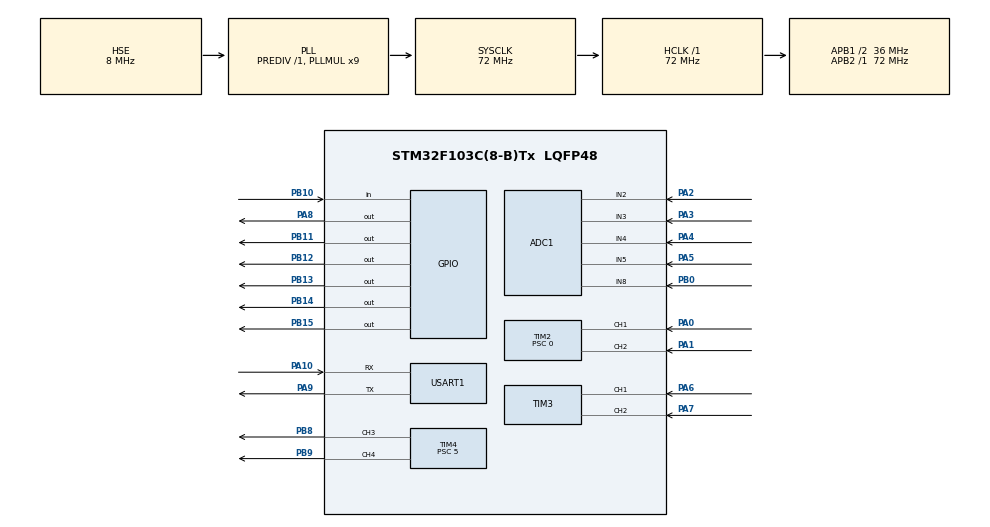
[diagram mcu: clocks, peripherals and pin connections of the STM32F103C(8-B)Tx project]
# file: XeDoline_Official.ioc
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ADC1.Channel-0\#ChannelRegularConversion=ADC_CHANNEL_2
ADC1.Channel-1\#ChannelRegularConversion=ADC_CHANNEL_3
ADC1.Channel-2\#ChannelRegularConversion=ADC_CHANNEL_4
ADC1.Channel-3\#ChannelRegularConversion=ADC_CHANNEL_5
ADC1.Channel-4\#ChannelRegularConversion=ADC_CHANNEL_8
ADC1.ContinuousConvMode=ENABLE
ADC1.NbrOfConversion=5
ADC1.NbrOfConversionFlag=1
ADC1.Rank-0\#ChannelRegularConversion=1
ADC1.Rank-1\#ChannelRegularConversion=2
ADC1.Rank-2\#ChannelRegularConversion=3
ADC1.Rank-3\#ChannelRegularConversion=4
ADC1.Rank-4\#ChannelRegularConversion=5
ADC1.SamplingTime-0\#ChannelRegularConversion=ADC_SAMPLETIME_239CYCLES_5
ADC1.SamplingTime-1\#ChannelRegularConversion=ADC_SAMPLETIME_239CYCLES_5
ADC1.SamplingTime-2\#ChannelRegularConversion=ADC_SAMPLETIME_239CYCLES_5
ADC1.SamplingTime-3\#ChannelRegularConversion=ADC_SAMPLETIME_239CYCLES_5
ADC1.SamplingTime-4\#ChannelRegularConversion=ADC_SAMPLETIME_239CYCLES_5
ADC1.master=1
Dma.ADC1.0.Direction=DMA_PERIPH_TO_MEMORY
Dma.ADC1.0.Instance=DMA1_Channel1
Dma.ADC1.0.MemDataAlignment=DMA_MDATAALIGN_HALFWORD
Dma.ADC1.0.MemInc=DMA_MINC_ENABLE
Dma.ADC1.0.Mode=DMA_CIRCULAR
Dma.ADC1.0.PeriphDataAlignment=DMA_PDATAALIGN_HALFWORD
Dma.ADC1.0.PeriphInc=DMA_PINC_DISABLE
Dma.ADC1.0.Priority=DMA_PRIORITY_LOW
Dma.Request0=ADC1
Mcu.Family=STM32F1
Mcu.Name=STM32F103C(8-B)Tx
Mcu.Package=LQFP48
NVIC.DMA1_Channel1_IRQn=true\:0\:0\:false\:false\:true\:false\:true\:true
NVIC.PriorityGroup=NVIC_PRIORITYGROUP_4
NVIC.TIM1_UP_IRQn=true\:0\:0\:false\:false\:true\:true\:true\:true
PA0-WKUP.Signal=S_TIM2_CH1_ETR
PA1.Signal=S_TIM2_CH2
PA10.Mode=Asynchronous
PA10.Signal=USART1_RX
PA13.Mode=Serial_Wire
PA13.Signal=SYS_JTMS-SWDIO
PA14.Mode=Serial_Wire
PA14.Signal=SYS_JTCK-SWCLK
PA2.Signal=ADCx_IN2
PA3.Signal=ADCx_IN3
PA4.Signal=ADCx_IN4
PA5.Signal=ADCx_IN5
PA6.Signal=S_TIM3_CH1
PA7.Signal=S_TIM3_CH2
PA8.Signal=GPIO_Output
PA9.Mode=Asynchronous
PA9.Signal=USART1_TX
PB0.Signal=ADCx_IN8
PB10.Signal=GPIO_Input
PB11.Signal=GPIO_Output
PB12.Signal=GPIO_Output
PB13.Signal=GPIO_Output
PB14.Signal=GPIO_Output
PB15.Signal=GPIO_Output
PB8.Signal=S_TIM4_CH3
PB9.Signal=S_TIM4_CH4
PD0-OSC_IN.Mode=HSE-External-Oscillator
PD0-OSC_IN.Signal=RCC_OSC_IN
PD1-OSC_OUT.Mode=HSE-External-Oscillator
PD1-OSC_OUT.Signal=RCC_OSC_OUT
ProjectManager.HeapSize=0x200
ProjectManager.StackSize=0x400
ProjectManager.TargetToolchain=MDK-ARM V5.32
RCC.ADCPresc=RCC_ADCPCLK2_DIV6
RCC.AHBFreq_Value=72000000
RCC.APB1CLKDivider=RCC_HCLK_DIV2
RCC.APB1Freq_Value=36000000
RCC.APB1TimFreq_Value=72000000
RCC.APB2Freq_Value=72000000
RCC.APB2TimFreq_Value=72000000
RCC.HCLKFreq_Value=72000000
RCC.PLLMUL=RCC_PLL_MUL9
RCC.PLLSourceVirtual=RCC_PLLSOURCE_HSE
RCC.SYSCLKFreq_VALUE=72000000
RCC.SYSCLKSource=RCC_SYSCLKSOURCE_PLLCLK
RCC.USBFreq_Value=72000000
SH.ADCx_IN2.0=ADC1_IN2,IN2
SH.ADCx_IN3.0=ADC1_IN3,IN3
SH.ADCx_IN4.0=ADC1_IN4,IN4
SH.ADCx_IN5.0=ADC1_IN5,IN5
SH.ADCx_IN8.0=ADC1_IN8,IN8
SH.S_TIM2_CH1_ETR.0=TIM2_CH1,Encoder_Interface
SH.S_TIM2_CH2.0=TIM2_CH2,Encoder_Interface
SH.S_TIM3_CH1.0=TIM3_CH1,Encoder_Interface
SH.S_TIM3_CH2.0=TIM3_CH2,Encoder_Interface
SH.S_TIM4_CH3.0=TIM4_CH3,PWM Generation3 CH3
SH.S_TIM4_CH4.0=TIM4_CH4,PWM Generation4 CH4
TIM1.Period=1999
TIM1.Prescaler=71
TIM2.EncoderMode=TIM_ENCODERMODE_TI12
TIM2.IC1Filter=8
TIM2.IC2Filter=8
TIM2.Period=65535
TIM2.Prescaler=0
TIM3.EncoderMode=TIM_ENCODERMODE_TI12
TIM3.IC1Filter=8
TIM4.Channel-PWM\ Generation3\ CH3=TIM_CHANNEL_3
TIM4.Channel-PWM\ Generation4\ CH4=TIM_CHANNEL_4
TIM4.Period=799
TIM4.Prescaler=5
USART1.VirtualMode=VM_ASYNC
VP_TIM1_VS_ClockSourceINT.Mode=Internal
VP_TIM4_VS_ClockSourceINT.Mode=Internal
board=custom

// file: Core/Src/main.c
/* USER CODE BEGIN Header */
	/**
		******************************************************************************
		* @file           : main.c
		* @brief          : Giam sat dong bo: 5 LED ADC, Sai so Error, RPM 2 banh xe
		******************************************************************************
		* @attention
		*
		* Copyright (c) 2026 STMicroelectronics.
		* All rights reserved.
		*
		******************************************************************************
		*/
/* USER CODE END Header */
#include "main.h"

/* USER CODE BEGIN Includes */
	#include <stdio.h>
	#include <string.h>
	#include "motor.h"
	#include "rpr220.h"
	#include "hx711.h"
	#include "edge_follow.h"
/* USER CODE END Includes */

ADC_HandleTypeDef hadc1;
DMA_HandleTypeDef hdma_adc1;

TIM_HandleTypeDef htim1;
TIM_HandleTypeDef htim2;
TIM_HandleTypeDef htim3;
TIM_HandleTypeDef htim4;

UART_HandleTypeDef huart1;

/* USER CODE BEGIN PV */
	// --- THÔNG S? Ð?NG CO & ENCODER ---
	#define ENCODER_PPR             11      // Xung/vòng c?a dia t?
	#define GEAR_RATIO              35.5f   // T? s? truy?n h?p s? th?c t?
	#define TOTAL_PULSES_PER_REV    (ENCODER_PPR * 4.0f * GEAR_RATIO) // 11 * 4 * 35.5 = 1562.0 xung/vòng
	// ===== NHIEM VU: DUNG CHO TAI -> DI TIEP -> DUNG O DICH =====
	#define WHEEL_D_MM       67.0f    // << DO LAI duong kinh banh (mm)
	#define MM_PER_PULSE     (3.14159265f * WHEEL_D_MM / TOTAL_PULSES_PER_REV)
	#define CRAWL_DUTY       24.0f    // Toc do cham (kiem tra RPM: >= 0.1 m/s)
	#define RAMP_STEP        0.1f     // Tang ga moi 2 ms (0.1 = 50%/s)
	#define MARK_THRESH      300      // Mat 0 va mat 4 cung >= nguong = vach tai hang
	#define WHITE_THRESH     100      // Ca 5 mat < nguong = het line

	// --- Moc quang duong (mm), tinh tu luc xe bat dau chay. DO VA CHINH THUC NGHIEM ---
	#define LOAD_ARM_MM      1980.0f  // Chi bat vach tai hang sau khi di qua quang nay
	#define LOAD_SLOW_MM     1900.0f  // Bat dau chay cham
	#define LOAD_STOP_MM     50.0f    // Di them sau khi thay vach (= khoang cach cam bien -> tam ban can)
	#define MARK_CLEAR_MM    1800.0f    // Sau khi roi vach tai hang: 60 mm dau van bam tam
	#define END_SLOW_MM      4200.0f  // (tinh tu luc roi vach tai hang) bat dau chay cham
	#define END_ARM_MM       4500.0f  // (tinh tu luc roi vach tai hang) moi bat phat hien het line
	#define END_STOP_MM      45.0f    // Di them sau khi het line (chinh de dung dung dau mut)
	#define EDGE_OFF_MM  2600.0f   // (tính t? lúc r?i ch? t?i) quay l?i bám tâm, ch?nh theo th?c t?
	#define FORK_MIN_MM    1800.0f   // chua cho phép b?t mép tru?c m?c này (tránh b?t nh?m)
	#define FORK_N_BLACK   3         // N = n_don + 1, di?n sau khi do
	#define FORK_CNT       10         // s? lu?t ng?t liên ti?p (3 x 2 ms) d? l?c nhi?u
	#define FORK_FORCE_MM  99999.0f   // quá m?c này mà chua th?y thì v?n ép b?t mép

	typedef enum {
			ST_RUN_TO_LOAD = 0,   // 0: chay den vach tai hang
			ST_BLIND_LOAD,        // 1: di them de tam ban can nam tren vach
			ST_WAIT_LOAD,         // 2: dung, cho dat tai
			ST_RUN_TO_END,        // 3: bam mep di den dich
			ST_BLIND_END,         // 4: di them den dau mut
			ST_DONE               // 5: dung han
	} MissionState_t;

	volatile MissionState_t mission = ST_RUN_TO_LOAD;
	volatile int32_t enc_acc_L = 0, enc_acc_R = 0;   // Xung cong don
	volatile float   dist_dbg  = 0.0f;               // Xem bang Live Expressions
	// Bi?n do v?n t?c th?c t?
	volatile float rpm_L = 0.0f;
	volatile float rpm_R = 0.0f;

	// --- DÀN C?M BI?N RPR-220 & BÁM LINE ---
	volatile uint16_t adc_sensor[NUM_SENSORS];   // Buffer nh?n d? li?u ADC DMA
	volatile uint16_t sensor_norm[NUM_SENSORS];  // M?ng chu?n hóa (0 -> 1000)
	volatile int16_t  line_pos_error = 0;
	volatile int16_t  prev_line_error = 0;
	volatile uint8_t  calib_completed = 0;
	volatile float current_weight_g = 0.0f;
	uint32_t last_hx711_tick = 0;

	// H? s? bám line th? nghi?m
	#define BASE_DUTY               30.0f   // M?c t?c d? n?n có t?i 2kg (%)
	#define KP_LINE                 0.007f  // H? s? P
	#define KD_LINE                 0.0003f // H? s? D
	#define MAX_STEER               11.0f   // K?p biên lái vi sai an toàn (%)

	// Giao ti?p UART lên MATLAB
	volatile uint8_t tx_ready = 0;
	char tx_buffer[128];
typedef enum {
    WEIGHT_STATE_IDLE = 0,    // Bàn cân tr?ng
    WEIGHT_STATE_SETTLING,    // Ðang ch? tay ngu?i buông ra ?n d?nh
    WEIGHT_STATE_LOCKED       // Ðã khóa c?ng lo?i hàng
} WeightState_t;

typedef enum {
    PACKAGE_NONE = 0,
    PACKAGE_1KG  = 1,
    PACKAGE_2KG  = 2
} PackageType_t;

volatile WeightState_t weight_state = WEIGHT_STATE_IDLE;
volatile PackageType_t detected_package = PACKAGE_NONE;
volatile float locked_weight_g = 0.0f;
volatile uint8_t is_weight_locked = 0;

static uint32_t settle_start_tick = 0;
static uint8_t edge_latched = 0, cnt_fork = 0;
static float d_latch;                                   // khai báo c?nh edge_latched

// B? d?m debounce ?n d?nh m?u
static uint8_t stable_count_1kg = 0;
static uint8_t stable_count_2kg = 0;

// C? telemetry (c?t B_Stat): 0 = bám tâm (chua có t?i), 1 = dang bám mép
volatile uint8_t edge_active = 0;
/* USER CODE END PV */

void SystemClock_Config(void);
static void MX_GPIO_Init(void);
static void MX_DMA_Init(void);
static void MX_ADC1_Init(void);
static void MX_USART1_UART_Init(void);
static void MX_TIM2_Init(void);
static void MX_TIM4_Init(void);
static void MX_TIM1_Init(void);
static void MX_TIM3_Init(void);

/* USER CODE BEGIN 0 */
	float u_steer;
static int16_t enc_last_L = 0, enc_last_R = 0;

static void Encoder_Update(void)     // Goi moi 2 ms, KHONG xoa bo dem
{
    int16_t cL = (int16_t)__HAL_TIM_GET_COUNTER(&htim2);
    int16_t cR = (int16_t)__HAL_TIM_GET_COUNTER(&htim3);
    int16_t dL = (int16_t)(cL - enc_last_L);  enc_last_L = cL;
    int16_t dR = (int16_t)(cR - enc_last_R);  enc_last_R = cR;
    enc_acc_L += (dL < 0) ? -dL : dL;
    enc_acc_R += (dR < 0) ? -dR : dR;
}

static float Dist_mm(void)
{
    return 0.5f * (float)(enc_acc_L + enc_acc_R) * MM_PER_PULSE;
}

static uint8_t All_White(void)
{
    for (uint8_t i = 0; i < NUM_SENSORS; i++)
        if (sensor_norm[i] >= WHITE_THRESH) return 0;
    return 1;
}

// --- PD dung chung ---
static uint8_t pd_tick = 0;
static float   pd_filt = 0.0f;
static int16_t pd_prev = 0;

static void PD_Reset(int16_t e) { pd_prev = e; pd_filt = 0.0f; pd_tick = 0; }

static float PD_Steer(int16_t e)
{
    if (++pd_tick >= 5)   // Tinh D moi 10 ms
    {
        pd_tick = 0;
        float d_raw = (float)(e - pd_prev) / 0.010f;
        pd_prev = e;
        pd_filt += 0.3f * (d_raw - pd_filt);
    }
    float u = KP_LINE * (float)e + KD_LINE * pd_filt;
    if (u >  MAX_STEER) u =  MAX_STEER;
    if (u < -MAX_STEER) u = -MAX_STEER;
    return u;
}

void HAL_TIM_PeriodElapsedCallback(TIM_HandleTypeDef *htim)
{
    if (htim->Instance != TIM1) return;

    // 1. CALIB: xe dung yen, ban tay re xe. Het calib thi xoa quang duong
    if (!calib_completed)
    {
        calib_completed = RPR220_Calibrate_Process(adc_sensor);
        Motor_Brake();
        Encoder_Update();
        if (calib_completed) { enc_acc_L = 0; enc_acc_R = 0; }
        return;
    }

    // 2. QUANG DUONG + SAI SO BAM TAM
    Encoder_Update();
    float dist = Dist_mm();
    dist_dbg = dist;
    line_pos_error = RPR220_Get_Error(adc_sensor, sensor_norm);

    // 3. MAY TRANG THAI
    static uint8_t cnt_mark = 0, cnt_end = 0, edge_prev = 0;
    static float   d_mark = 0.0f, d_leave = 0.0f, d_end = 0.0f, spd_cmd = 0.0f;

    float   spd_target = BASE_DUTY;
    float   steer = 0.0f;
    uint8_t drive = 1;

    switch (mission)
    {
        case ST_RUN_TO_LOAD:
            steer = PD_Steer(line_pos_error);
            if (dist >= LOAD_SLOW_MM) spd_target = CRAWL_DUTY;
//            cnt_mark = (dist >= LOAD_ARM_MM &&
//                        sensor_norm[0] >= MARK_THRESH && sensor_norm[4] >= MARK_THRESH) ? cnt_mark + 1 : 0;
							cnt_mark = (dist >= LOAD_ARM_MM) ? cnt_mark + 1 : 0;
            if (cnt_mark >= 3) { d_mark = dist; mission = ST_BLIND_LOAD; }
            break;

        case ST_BLIND_LOAD:
            steer = PD_Steer(line_pos_error);
            spd_target = CRAWL_DUTY;
            if (dist - d_mark >= LOAD_STOP_MM) { mission = ST_WAIT_LOAD; drive = 0; }
            break;

        case ST_WAIT_LOAD:
            drive = 0;                              // Dung yen, can tu chot trong vong lap main
            if (is_weight_locked && detected_package != PACKAGE_NONE)
            {
                d_leave = dist;  cnt_end = 0;  edge_prev = 0;
								edge_latched = 0;  cnt_fork = 0;
								PD_Reset(line_pos_error);
                mission = ST_RUN_TO_END;
            }
            break;

        case ST_RUN_TO_END:
        {
            int16_t err = line_pos_error;
            float   s   = dist - d_leave;

            // 1. Quét nh?n di?n ngã ba (gi? nguyên di?u ki?n 3 m?t c?a b?n)
            if (!edge_latched && s >= FORK_MIN_MM)
            {
                uint8_t n_black = 0;
                for (uint8_t i = 0; i < 5; i++)
                    if (sensor_norm[i] >= EDGE_THRESH) n_black++;

                cnt_fork = (n_black >= FORK_N_BLACK) ? cnt_fork + 1 : 0;

                // KHI CH?T NGÃ BA: B?T BU?C LUU M?C d_latch T?I ÐÂY
                if (cnt_fork >= FORK_CNT || s >= FORK_FORCE_MM)
                {
                    edge_latched = 1;
                    d_latch = dist; // <-- Thêm dòng này d? d_latch nh?n quãng du?ng th?c t?
                }
            }

            // 2. Duy trì bám mép trong kho?ng 700mm tính t? d?nh ngã ba
            uint8_t edge_now = edge_latched && ((dist - d_leave) < EDGE_OFF_MM);
						edge_active = edge_now;
            if (edge_now)
            {
                if (!edge_prev) EdgeFollow_Reset(line_pos_error);

                // GI? NGUYÊN sensor_norm KHÔNG Ð?NG TH? T?
                err = EdgeFollow_GetError(sensor_norm,
                        (detected_package == PACKAGE_1KG) ? EDGE_SIDE_LEFT : EDGE_SIDE_RIGHT);
            }

            if (edge_now != edge_prev) { edge_prev = edge_now; PD_Reset(err); }
            line_pos_error = err;
            steer = PD_Steer(err);

            if ((dist - d_leave) >= END_SLOW_MM) spd_target = CRAWL_DUTY;
            cnt_end = ((dist - d_leave) >= END_ARM_MM && All_White()) ? cnt_end + 1 : 0;
            if (cnt_end >= 5) { d_end = dist; mission = ST_BLIND_END; }
            break;
        }

        case ST_BLIND_END:
            steer = 0.0f;                           // Het line, chay thang
            spd_target = CRAWL_DUTY;
            if (dist - d_end >= END_STOP_MM) { mission = ST_DONE; drive = 0; }
            break;

        case ST_DONE:
        default:
            drive = 0;
            break;
    }

    // 4. XUAT DONG CO (co ramp ga khi tang toc)
    if (drive)
    {
        if (spd_cmd < spd_target)
        {
            spd_cmd += RAMP_STEP;
            if (spd_cmd > spd_target) spd_cmd = spd_target;
        }
        else spd_cmd = spd_target;                  // Giam toc tuc thoi
        u_steer = steer;
        Motor_DriveLine(spd_cmd, steer);
    }
    else
    {
        spd_cmd = 0.0f;
        u_steer = 0.0f;
        Motor_Brake();
    }

    // 5. RPM MOI 50 ms (dung xung cong don, khong xoa bo dem)
    static uint8_t tick_50ms = 0;
    static int32_t acc_prev_L = 0, acc_prev_R = 0;
    if (++tick_50ms >= 25)
    {
        tick_50ms = 0;
        int32_t pL = enc_acc_L - acc_prev_L;  acc_prev_L = enc_acc_L;
        int32_t pR = enc_acc_R - acc_prev_R;  acc_prev_R = enc_acc_R;
        rpm_L = ((float)pL / TOTAL_PULSES_PER_REV) * 1200.0f;
        rpm_R = ((float)pR / TOTAL_PULSES_PER_REV) * 1200.0f;
        tx_ready = 1;
    }
}
	void Process_Weight_Logic(float raw_weight)
{
    switch (weight_state)
    {
        case WEIGHT_STATE_IDLE:
            // Chua có hàng, gi? các c? ? m?c 0
            is_weight_locked  = 0;
            detected_package  = PACKAGE_NONE;
            locked_weight_g   = 0.0f;

            // Phát hi?n có t?i d?t lên bàn cân (> 500g)
            if (raw_weight > 500.0f)
            {
                settle_start_tick = HAL_GetTick();
                weight_state = WEIGHT_STATE_SETTLING; // Chuy?n sang ch? ?n d?nh
            }
            break;

        case WEIGHT_STATE_SETTLING:
            // N?u ngu?i dùng nh?c v?t ra ngay lúc dang d?t
            if (raw_weight < 300.0f)
            {
                weight_state = WEIGHT_STATE_IDLE;
                break;
            }

            // Ch? d? 1200ms (1.2 giây) d? tay buông hoàn toàn và lò xo Loadcell h?t rung
            if (HAL_GetTick() - settle_start_tick >= 1200)
            {
                // Lúc này s? cân dã ? tr?ng thái tinh tuy?t d?i, ti?n hành phân lo?i
                if (raw_weight >= 800.0f && raw_weight <= 1350.0f)
                {
                    locked_weight_g   = 1000.0f;
                    detected_package  = PACKAGE_1KG;
                    is_weight_locked  = 1;
                    weight_state      = WEIGHT_STATE_LOCKED;
                }
                else if (raw_weight >= 1650.0f && raw_weight <= 2400.0f)
                {
                    locked_weight_g   = 2000.0f;
                    detected_package  = PACKAGE_2KG;
                    is_weight_locked  = 1;
                    weight_state      = WEIGHT_STATE_LOCKED;
                }
                else
                {
                    // Tr?ng lu?ng n?m ngoài 2 d?i cho phép (ví d? 1.4kg ho?c nhi?u)
                    // Gia h?n thêm 300ms d? cân l?i
                    settle_start_tick = HAL_GetTick() - 900;
                }
            }
            break;

        case WEIGHT_STATE_LOCKED:
            // ÐANG KHÓA: Khi nh?c hàng ra kh?i cân (< 200g)
            // T? d?ng m? khóa cho lu?t ch?y k? ti?p
            if (raw_weight < 200.0f)
            {
                weight_state      = WEIGHT_STATE_IDLE;
            }
            break;
    }
}

/* USER CODE END 0 */

int main(void)
{

  /* MCU Configuration--------------------------------------------------------*/

  /* Reset of all peripherals, Initializes the Flash interface and the Systick. */
  HAL_Init();

  /* Configure the system clock */
  SystemClock_Config();

  /* Initialize all configured peripherals */
  MX_GPIO_Init();
  MX_DMA_Init();
  MX_ADC1_Init();
  MX_USART1_UART_Init();
  MX_TIM2_Init();
  MX_TIM4_Init();
  MX_TIM1_Init();
  MX_TIM3_Init();
  /* USER CODE BEGIN 2 */
		// 1. Kh?i d?ng driver TB6612 trên TIM4
		Motor_Init(&htim4);

		// 2. Kích ho?t ch? d? d?m Encoder ph?n c?ng trên TIM2 và TIM3
		HAL_TIM_Encoder_Start(&htim2, TIM_CHANNEL_ALL);
		HAL_TIM_Encoder_Start(&htim3, TIM_CHANNEL_ALL);

		// 3. Kh?i t?o c?m bi?n RPR-220 (Calib 7000ms = 7 giây)
		RPR220_Init(15000);
		EdgeFollow_Init(EDGE_SP_LEFT_DEFAULT, EDGE_SP_RIGHT_DEFAULT); // Diem dat bam mep (nen do thuc te)
		HAL_ADCEx_Calibration_Start(&hadc1);
		HAL_ADC_Start_DMA(&hadc1, (uint32_t *)adc_sensor, NUM_SENSORS);
		HX711_Init(420.0f); // H? s? scale t?m th?i 420.0f
		HX711_Tare(15);     // L?y 15 m?u trung bình d? khóa m?c 0g
		// 4. Xóa c? ng?t và b?t ng?t d?nh th?i 2ms trên TIM1
		__HAL_TIM_CLEAR_IT(&htim1, TIM_IT_UPDATE);
		HAL_TIM_Base_Start_IT(&htim1);
  /* USER CODE END 2 */

  /* Infinite loop */
		while (1)
		{

    /* USER CODE BEGIN 3 */
			// -------------------------------------------------------------
    // 1. Ð?C KH?I LU?NG NON-BLOCKING
    // Module HX711 m?c d?nh xu?t d? li?u ? t?c d? 10 Hz (~100ms/m?u).
    // Khi chip chuy?n d?i xong, chân DT (PB10) t? kéo v? 0 -> HX711_IsReady() = 1.
    // Lúc này hàm d?c 1 m?u ch? m?t kho?ng ~40us r?i nh? CPU ngay.
    // -------------------------------------------------------------
    if (HAL_GetTick() - last_hx711_tick >= 100)
    {
        last_hx711_tick = HAL_GetTick();

        if (HX711_IsReady())
        {
            float raw_val = HX711_GetGram(1);

            // Luôn n?p raw_val vào hàm x? lý tr?ng thái
            Process_Weight_Logic(raw_val);

            // C?p nh?t giá tr? hi?n th? ra màn hình
            if (is_weight_locked)
            {
                current_weight_g = locked_weight_g; // Ðã ch?t: hi?n c? d?nh 1000g ho?c 2000g
            }
            else
            {
                current_weight_g = raw_val;          // Chua ch?t: hi?n giá tr? th?c
            }
        }
    }
			if (tx_ready)
			{
					tx_ready = 0;

					// 1. Tách ph?n nguyên và 1 ch? s? th?p phân c?a RPM
					int l_int  = (int)rpm_L;
					int l_frac = (int)((rpm_L - l_int) * 10.0f + 0.5f);
					if (l_frac >= 10) { l_int++; l_frac = 0; }

					int r_int  = (int)rpm_R;
					int r_frac = (int)((rpm_R - r_int) * 10.0f + 0.5f);
					if (r_frac >= 10) { r_int++; r_frac = 0; }

					// 2. Tách ph?n nguyên và th?p phân c?a góc bù lái u_steer
					int st_int  = (int)u_steer;
					int st_frac = (int)((u_steer - (float)st_int) * 10.0f);
					if (st_frac < 0) st_frac = -st_frac;

					int w_val = (int)current_weight_g;

					// Ð?nh d?ng gói tin (12 tham s?):
					// S1,S2,S3,S4,S5,Err,Pack,B_Stat,Steer,Weight,RPM_L,RPM_R\n
					int len = sprintf(tx_buffer, "%u,%u,%u,%u,%u,%d,%d,%d,%d.%d,%d,%d.%d,%d.%d,%d\n",
                  sensor_norm[0], sensor_norm[1], sensor_norm[2],
                  sensor_norm[3], sensor_norm[4],       // C?t 1..5: 5 m?t (0-1000)
                  line_pos_error,                       // C?t 6: Sai s? Err
                  detected_package,                     // C?t 7: 0=None, 1=1kg, 2=2kg
                  (int)mission + 10 * (int)edge_active, // C?t 8: 3 = bám tâm, 13 = bám mép
                  st_int, st_frac,                      // C?t 9: Bù lái u_steer
                  w_val,                                // C?t 10: Kh?i lu?ng (g)
                  l_int, l_frac,                        // C?t 11: RPM Trái
                  r_int, r_frac,                        // C?t 12: RPM Ph?i
                  (int)dist_dbg);                       // C?t 13: Quãng du?ng hi?n t?i (mm)

					HAL_UART_Transmit(&huart1, (uint8_t*)tx_buffer, len, 25);
			}
		}
  /* USER CODE END 3 */
}

void SystemClock_Config(void)
{
  RCC_OscInitTypeDef RCC_OscInitStruct = {0};
  RCC_ClkInitTypeDef RCC_ClkInitStruct = {0};
  RCC_PeriphCLKInitTypeDef PeriphClkInit = {0};

  /** Initializes the RCC Oscillators according to the specified parameters
  * in the RCC_OscInitTypeDef structure.
  */
  RCC_OscInitStruct.OscillatorType = RCC_OSCILLATORTYPE_HSE;
  RCC_OscInitStruct.HSEState = RCC_HSE_ON;
  RCC_OscInitStruct.HSEPredivValue = RCC_HSE_PREDIV_DIV1;
  RCC_OscInitStruct.HSIState = RCC_HSI_ON;
  RCC_OscInitStruct.PLL.PLLState = RCC_PLL_ON;
  RCC_OscInitStruct.PLL.PLLSource = RCC_PLLSOURCE_HSE;
  RCC_OscInitStruct.PLL.PLLMUL = RCC_PLL_MUL9;
  if (HAL_RCC_OscConfig(&RCC_OscInitStruct) != HAL_OK)
  {
    Error_Handler();
  }

  /** Initializes the CPU, AHB and APB buses clocks
  */
  RCC_ClkInitStruct.ClockType = RCC_CLOCKTYPE_HCLK|RCC_CLOCKTYPE_SYSCLK
                              |RCC_CLOCKTYPE_PCLK1|RCC_CLOCKTYPE_PCLK2;
  RCC_ClkInitStruct.SYSCLKSource = RCC_SYSCLKSOURCE_PLLCLK;
  RCC_ClkInitStruct.AHBCLKDivider = RCC_SYSCLK_DIV1;
  RCC_ClkInitStruct.APB1CLKDivider = RCC_HCLK_DIV2;
  RCC_ClkInitStruct.APB2CLKDivider = RCC_HCLK_DIV1;

  if (HAL_RCC_ClockConfig(&RCC_ClkInitStruct, FLASH_LATENCY_2) != HAL_OK)
  {
    Error_Handler();
  }
  PeriphClkInit.PeriphClockSelection = RCC_PERIPHCLK_ADC;
  PeriphClkInit.AdcClockSelection = RCC_ADCPCLK2_DIV6;
  if (HAL_RCCEx_PeriphCLKConfig(&PeriphClkInit) != HAL_OK)
  {
    Error_Handler();
  }
}

static void MX_ADC1_Init(void)
{

  ADC_ChannelConfTypeDef sConfig = {0};

  /** Common config
  */
  hadc1.Instance = ADC1;
  hadc1.Init.ScanConvMode = ADC_SCAN_ENABLE;
  hadc1.Init.ContinuousConvMode = ENABLE;
  hadc1.Init.DiscontinuousConvMode = DISABLE;
  hadc1.Init.ExternalTrigConv = ADC_SOFTWARE_START;
  hadc1.Init.DataAlign = ADC_DATAALIGN_RIGHT;
  hadc1.Init.NbrOfConversion = 5;
  if (HAL_ADC_Init(&hadc1) != HAL_OK)
  {
    Error_Handler();
  }

  /** Configure Regular Channel
  */
  sConfig.Channel = ADC_CHANNEL_2;
  sConfig.Rank = ADC_REGULAR_RANK_1;
  sConfig.SamplingTime = ADC_SAMPLETIME_239CYCLES_5;
  if (HAL_ADC_ConfigChannel(&hadc1, &sConfig) != HAL_OK)
  {
    Error_Handler();
  }

  /** Configure Regular Channel
  */
  sConfig.Channel = ADC_CHANNEL_3;
  sConfig.Rank = ADC_REGULAR_RANK_2;
  if (HAL_ADC_ConfigChannel(&hadc1, &sConfig) != HAL_OK)
  {
    Error_Handler();
  }

  /** Configure Regular Channel
  */
  sConfig.Channel = ADC_CHANNEL_4;
  sConfig.Rank = ADC_REGULAR_RANK_3;
  if (HAL_ADC_ConfigChannel(&hadc1, &sConfig) != HAL_OK)
  {
    Error_Handler();
  }

  /** Configure Regular Channel
  */
  sConfig.Channel = ADC_CHANNEL_5;
  sConfig.Rank = ADC_REGULAR_RANK_4;
  if (HAL_ADC_ConfigChannel(&hadc1, &sConfig) != HAL_OK)
  {
    Error_Handler();
  }

  /** Configure Regular Channel
  */
  sConfig.Channel = ADC_CHANNEL_8;
  sConfig.Rank = ADC_REGULAR_RANK_5;
  if (HAL_ADC_ConfigChannel(&hadc1, &sConfig) != HAL_OK)
  {
    Error_Handler();
  }

}

static void MX_TIM1_Init(void)
{

  TIM_ClockConfigTypeDef sClockSourceConfig = {0};
  TIM_MasterConfigTypeDef sMasterConfig = {0};

  htim1.Instance = TIM1;
  htim1.Init.Prescaler = 71;
  htim1.Init.CounterMode = TIM_COUNTERMODE_UP;
  htim1.Init.Period = 1999;
  htim1.Init.ClockDivision = TIM_CLOCKDIVISION_DIV1;
  htim1.Init.RepetitionCounter = 0;
  htim1.Init.AutoReloadPreload = TIM_AUTORELOAD_PRELOAD_DISABLE;
  if (HAL_TIM_Base_Init(&htim1) != HAL_OK)
  {
    Error_Handler();
  }
  sClockSourceConfig.ClockSource = TIM_CLOCKSOURCE_INTERNAL;
  if (HAL_TIM_ConfigClockSource(&htim1, &sClockSourceConfig) != HAL_OK)
  {
    Error_Handler();
  }
  sMasterConfig.MasterOutputTrigger = TIM_TRGO_RESET;
  sMasterConfig.MasterSlaveMode = TIM_MASTERSLAVEMODE_DISABLE;
  if (HAL_TIMEx_MasterConfigSynchronization(&htim1, &sMasterConfig) != HAL_OK)
  {
    Error_Handler();
  }

}

static void MX_TIM2_Init(void)
{

  TIM_Encoder_InitTypeDef sConfig = {0};
  TIM_MasterConfigTypeDef sMasterConfig = {0};

  htim2.Instance = TIM2;
  htim2.Init.Prescaler = 0;
  htim2.Init.CounterMode = TIM_COUNTERMODE_UP;
  htim2.Init.Period = 65535;
  htim2.Init.ClockDivision = TIM_CLOCKDIVISION_DIV1;
  htim2.Init.AutoReloadPreload = TIM_AUTORELOAD_PRELOAD_DISABLE;
  sConfig.EncoderMode = TIM_ENCODERMODE_TI12;
  sConfig.IC1Polarity = TIM_ICPOLARITY_RISING;
  sConfig.IC1Selection = TIM_ICSELECTION_DIRECTTI;
  sConfig.IC1Prescaler = TIM_ICPSC_DIV1;
  sConfig.IC1Filter = 8;
  sConfig.IC2Polarity = TIM_ICPOLARITY_RISING;
  sConfig.IC2Selection = TIM_ICSELECTION_DIRECTTI;
  sConfig.IC2Prescaler = TIM_ICPSC_DIV1;
  sConfig.IC2Filter = 8;
  if (HAL_TIM_Encoder_Init(&htim2, &sConfig) != HAL_OK)
  {
    Error_Handler();
  }
  sMasterConfig.MasterOutputTrigger = TIM_TRGO_RESET;
  sMasterConfig.MasterSlaveMode = TIM_MASTERSLAVEMODE_DISABLE;
  if (HAL_TIMEx_MasterConfigSynchronization(&htim2, &sMasterConfig) != HAL_OK)
  {
    Error_Handler();
  }

}

static void MX_TIM3_Init(void)
{

  TIM_Encoder_InitTypeDef sConfig = {0};
  TIM_MasterConfigTypeDef sMasterConfig = {0};

  htim3.Instance = TIM3;
  htim3.Init.Prescaler = 0;
  htim3.Init.CounterMode = TIM_COUNTERMODE_UP;
  htim3.Init.Period = 65535;
  htim3.Init.ClockDivision = TIM_CLOCKDIVISION_DIV1;
  htim3.Init.AutoReloadPreload = TIM_AUTORELOAD_PRELOAD_DISABLE;
  sConfig.EncoderMode = TIM_ENCODERMODE_TI12;
  sConfig.IC1Polarity = TIM_ICPOLARITY_RISING;
  sConfig.IC1Selection = TIM_ICSELECTION_DIRECTTI;
  sConfig.IC1Prescaler = TIM_ICPSC_DIV1;
  sConfig.IC1Filter = 8;
  sConfig.IC2Polarity = TIM_ICPOLARITY_RISING;
  sConfig.IC2Selection = TIM_ICSELECTION_DIRECTTI;
  sConfig.IC2Prescaler = TIM_ICPSC_DIV1;
  sConfig.IC2Filter = 0;
  if (HAL_TIM_Encoder_Init(&htim3, &sConfig) != HAL_OK)
  {
    Error_Handler();
  }
  sMasterConfig.MasterOutputTrigger = TIM_TRGO_RESET;
  sMasterConfig.MasterSlaveMode = TIM_MASTERSLAVEMODE_DISABLE;
  if (HAL_TIMEx_MasterConfigSynchronization(&htim3, &sMasterConfig) != HAL_OK)
  {
    Error_Handler();
  }

}

static void MX_TIM4_Init(void)
{

  TIM_ClockConfigTypeDef sClockSourceConfig = {0};
  TIM_MasterConfigTypeDef sMasterConfig = {0};
  TIM_OC_InitTypeDef sConfigOC = {0};

  htim4.Instance = TIM4;
  htim4.Init.Prescaler = 5;
  htim4.Init.CounterMode = TIM_COUNTERMODE_UP;
  htim4.Init.Period = 799;
  htim4.Init.ClockDivision = TIM_CLOCKDIVISION_DIV1;
  htim4.Init.AutoReloadPreload = TIM_AUTORELOAD_PRELOAD_DISABLE;
  if (HAL_TIM_Base_Init(&htim4) != HAL_OK)
  {
    Error_Handler();
  }
  sClockSourceConfig.ClockSource = TIM_CLOCKSOURCE_INTERNAL;
  if (HAL_TIM_ConfigClockSource(&htim4, &sClockSourceConfig) != HAL_OK)
  {
    Error_Handler();
  }
  if (HAL_TIM_PWM_Init(&htim4) != HAL_OK)
  {
    Error_Handler();
  }
  sMasterConfig.MasterOutputTrigger = TIM_TRGO_RESET;
  sMasterConfig.MasterSlaveMode = TIM_MASTERSLAVEMODE_DISABLE;
  if (HAL_TIMEx_MasterConfigSynchronization(&htim4, &sMasterConfig) != HAL_OK)
  {
    Error_Handler();
  }
  sConfigOC.OCMode = TIM_OCMODE_PWM1;
  sConfigOC.Pulse = 0;
  sConfigOC.OCPolarity = TIM_OCPOLARITY_HIGH;
  sConfigOC.OCFastMode = TIM_OCFAST_DISABLE;
  if (HAL_TIM_PWM_ConfigChannel(&htim4, &sConfigOC, TIM_CHANNEL_3) != HAL_OK)
  {
    Error_Handler();
  }
  if (HAL_TIM_PWM_ConfigChannel(&htim4, &sConfigOC, TIM_CHANNEL_4) != HAL_OK)
  {
    Error_Handler();
  }
  HAL_TIM_MspPostInit(&htim4);

}

static void MX_USART1_UART_Init(void)
{

  huart1.Instance = USART1;
  huart1.Init.BaudRate = 115200;
  huart1.Init.WordLength = UART_WORDLENGTH_8B;
  huart1.Init.StopBits = UART_STOPBITS_1;
  huart1.Init.Parity = UART_PARITY_NONE;
  huart1.Init.Mode = UART_MODE_TX_RX;
  huart1.Init.HwFlowCtl = UART_HWCONTROL_NONE;
  huart1.Init.OverSampling = UART_OVERSAMPLING_16;
  if (HAL_UART_Init(&huart1) != HAL_OK)
  {
    Error_Handler();
  }

}

static void MX_DMA_Init(void)
{

  /* DMA controller clock enable */
  __HAL_RCC_DMA1_CLK_ENABLE();

  /* DMA interrupt init */
  /* DMA1_Channel1_IRQn interrupt configuration */
  HAL_NVIC_SetPriority(DMA1_Channel1_IRQn, 0, 0);
  HAL_NVIC_EnableIRQ(DMA1_Channel1_IRQn);

}

static void MX_GPIO_Init(void)
{
  GPIO_InitTypeDef GPIO_InitStruct = {0};

  /* GPIO Ports Clock Enable */
  __HAL_RCC_GPIOD_CLK_ENABLE();
  __HAL_RCC_GPIOA_CLK_ENABLE();
  __HAL_RCC_GPIOB_CLK_ENABLE();

  /*Configure GPIO pin Output Level */
  HAL_GPIO_WritePin(GPIOB, GPIO_PIN_11|GPIO_PIN_12|GPIO_PIN_13|GPIO_PIN_14
                          |GPIO_PIN_15, GPIO_PIN_RESET);

  /*Configure GPIO pin Output Level */
  HAL_GPIO_WritePin(GPIOA, GPIO_PIN_8, GPIO_PIN_RESET);

  /*Configure GPIO pin : PB10 */
  GPIO_InitStruct.Pin = GPIO_PIN_10;
  GPIO_InitStruct.Mode = GPIO_MODE_INPUT;
  GPIO_InitStruct.Pull = GPIO_NOPULL;
  HAL_GPIO_Init(GPIOB, &GPIO_InitStruct);

  /*Configure GPIO pins : PB11 PB12 PB13 PB14
                           PB15 */
  GPIO_InitStruct.Pin = GPIO_PIN_11|GPIO_PIN_12|GPIO_PIN_13|GPIO_PIN_14
                          |GPIO_PIN_15;
  GPIO_InitStruct.Mode = GPIO_MODE_OUTPUT_PP;
  GPIO_InitStruct.Pull = GPIO_NOPULL;
  GPIO_InitStruct.Speed = GPIO_SPEED_FREQ_LOW;
  HAL_GPIO_Init(GPIOB, &GPIO_InitStruct);

  /*Configure GPIO pin : PA8 */
  GPIO_InitStruct.Pin = GPIO_PIN_8;
  GPIO_InitStruct.Mode = GPIO_MODE_OUTPUT_PP;
  GPIO_InitStruct.Pull = GPIO_NOPULL;
  GPIO_InitStruct.Speed = GPIO_SPEED_FREQ_LOW;
  HAL_GPIO_Init(GPIOA, &GPIO_InitStruct);

}

void Error_Handler(void)
{
		__disable_irq();
		while (1)
		{
		}
}
